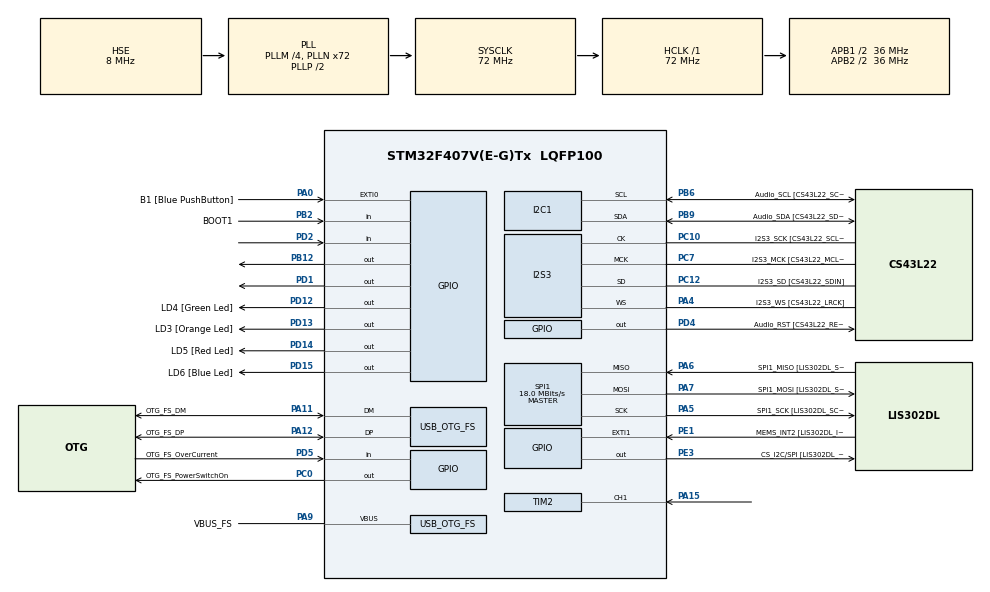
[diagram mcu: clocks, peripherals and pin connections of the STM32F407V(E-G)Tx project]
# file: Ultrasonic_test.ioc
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I2C1.I2C_Mode=I2C_Fast
I2S3.AudioFreq=I2S_AUDIOFREQ_96K
I2S3.AudioFreq-Half_Duplex_Master=I2S_AUDIOFREQ_96K
I2S3.ErrorAudioFreq=- %
I2S3.ErrorAudioFreq-Half_Duplex_Master=0.8 %
I2S3.FullDuplexMode=I2S_FULLDUPLEXMODE_DISABLE
I2S3.Instance=SPI$Index
I2S3.RealAudioFreq=- Hz
I2S3.RealAudioFreq-Half_Duplex_Master=96.774 KHz
I2S3.VirtualMode=I2S_MODE_MASTER
Mcu.Family=STM32F4
Mcu.Name=STM32F407V(E-G)Tx
Mcu.Package=LQFP100
NVIC.OTG_FS_IRQn=true\:0\:0\:false\:false\:true\:true\:true\:true
NVIC.PriorityGroup=NVIC_PRIORITYGROUP_0
NVIC.TIM2_IRQn=true\:0\:0\:false\:false\:true\:true\:true\:true
PA0-WKUP.GPIO_Label=B1 [Blue PushButton]
PA0-WKUP.GPIO_ModeDefaultEXTI=GPIO_MODE_EVT_RISING
PA0-WKUP.GPIO_PuPd=GPIO_NOPULL
PA0-WKUP.Signal=GPXTI0
PA10.GPIO_Label=OTG_FS_ID
PA10.GPIO_Mode=GPIO_MODE_AF_PP
PA10.GPIO_PuPd=GPIO_NOPULL
PA10.GPIO_Speed=GPIO_SPEED_FREQ_LOW
PA10.Signal=USB_OTG_FS_ID
PA11.GPIO_Label=OTG_FS_DM
PA11.GPIO_Mode=GPIO_MODE_AF_PP
PA11.GPIO_PuPd=GPIO_NOPULL
PA11.GPIO_Speed=GPIO_SPEED_FREQ_LOW
PA11.Mode=Host_Only
PA11.Signal=USB_OTG_FS_DM
PA12.GPIO_Label=OTG_FS_DP
PA12.GPIO_Mode=GPIO_MODE_AF_PP
PA12.GPIO_PuPd=GPIO_NOPULL
PA12.GPIO_Speed=GPIO_SPEED_FREQ_LOW
PA12.Mode=Host_Only
PA12.Signal=USB_OTG_FS_DP
PA13.GPIO_Label=SWDIO
PA13.Mode=Serial_Wire
PA13.Signal=SYS_JTMS-SWDIO
PA14.GPIO_Label=SWCLK
PA14.Mode=Serial_Wire
PA14.Signal=SYS_JTCK-SWCLK
PA15.Signal=S_TIM2_CH1_ETR
PA4.GPIO_Label=I2S3_WS [CS43L22_LRCK]
PA4.GPIO_Mode=GPIO_MODE_AF_PP
PA4.GPIO_PuPd=GPIO_NOPULL
PA4.GPIO_Speed=GPIO_SPEED_FREQ_LOW
PA4.Mode=Half_Duplex_Master
PA4.Signal=I2S3_WS
PA5.GPIO_Label=SPI1_SCK [LIS302DL_SCL/SPC]
PA5.GPIO_Mode=GPIO_MODE_AF_PP
PA5.GPIO_PuPd=GPIO_NOPULL
PA5.GPIO_Speed=GPIO_SPEED_FREQ_LOW
PA5.Mode=Full_Duplex_Master
PA5.Signal=SPI1_SCK
PA6.GPIO_Label=SPI1_MISO [LIS302DL_SDO]
PA6.GPIO_Mode=GPIO_MODE_AF_PP
PA6.GPIO_PuPd=GPIO_NOPULL
PA6.GPIO_Speed=GPIO_SPEED_FREQ_LOW
PA6.Mode=Full_Duplex_Master
PA6.Signal=SPI1_MISO
PA7.GPIO_Label=SPI1_MOSI [LIS302DL_SDA/SDI/SDO]
PA7.GPIO_Mode=GPIO_MODE_AF_PP
PA7.GPIO_PuPd=GPIO_NOPULL
PA7.GPIO_Speed=GPIO_SPEED_FREQ_LOW
PA7.Mode=Full_Duplex_Master
PA7.Signal=SPI1_MOSI
PA9.GPIO_Label=VBUS_FS
PA9.GPIO_Mode=GPIO_MODE_INPUT
PA9.GPIO_PuPd=GPIO_NOPULL
PA9.Mode=Activate_VBUS
PA9.Signal=USB_OTG_FS_VBUS
PB10.GPIO_Label=CLK_IN [MP45DT02_CLK]
PB10.GPIO_Mode=GPIO_MODE_AF_PP
PB10.GPIO_PuPd=GPIO_NOPULL
PB10.GPIO_Speed=GPIO_SPEED_FREQ_LOW
PB10.Signal=I2S2_CK
PB12.Signal=GPIO_Output
PB2.GPIO_Label=BOOT1
PB2.GPIO_Mode=GPIO_MODE_INPUT
PB2.GPIO_PuPd=GPIO_NOPULL
PB2.Signal=GPIO_Input
PB3.GPIO_Label=SWO
PB3.Signal=SYS_JTDO-SWO
PB6.GPIO_Label=Audio_SCL [CS43L22_SCL]
PB6.GPIO_Mode=GPIO_MODE_AF_OD
PB6.GPIO_Pu=GPIO_PULLUP
PB6.GPIO_PuPd=GPIO_NOPULL
PB6.GPIO_Speed=GPIO_SPEED_FREQ_LOW
PB6.Mode=I2C
PB6.Signal=I2C1_SCL
PB9.GPIO_Label=Audio_SDA [CS43L22_SDA]
PB9.GPIO_Mode=GPIO_MODE_AF_OD
PB9.GPIO_Pu=GPIO_PULLUP
PB9.GPIO_PuPd=GPIO_NOPULL
PB9.GPIO_Speed=GPIO_SPEED_FREQ_LOW
PB9.Mode=I2C
PB9.Signal=I2C1_SDA
PC0.GPIO_Label=OTG_FS_PowerSwitchOn
PC0.GPIO_PuPd=GPIO_NOPULL
PC0.GPIO_Speed=GPIO_SPEED_FREQ_LOW
PC0.PinState=GPIO_PIN_SET
PC0.Signal=GPIO_Output
PC10.GPIO_Label=I2S3_SCK [CS43L22_SCLK]
PC10.GPIO_Mode=GPIO_MODE_AF_PP
PC10.GPIO_PuPd=GPIO_NOPULL
PC10.GPIO_Speed=GPIO_SPEED_FREQ_LOW
PC10.Mode=Half_Duplex_Master
PC10.Signal=I2S3_CK
PC12.GPIO_Label=I2S3_SD [CS43L22_SDIN]
PC12.GPIO_Mode=GPIO_MODE_AF_PP
PC12.GPIO_PuPd=GPIO_NOPULL
PC12.GPIO_Speed=GPIO_SPEED_FREQ_LOW
PC12.Mode=Half_Duplex_Master
PC12.Signal=I2S3_SD
PC14-OSC32_IN.GPIO_Label=PC14-OSC32_IN
PC14-OSC32_IN.Mode=LSE-External-Oscillator
PC14-OSC32_IN.Signal=RCC_OSC32_IN
PC15-OSC32_OUT.GPIO_Label=PC15-OSC32_OUT
PC15-OSC32_OUT.Mode=LSE-External-Oscillator
PC15-OSC32_OUT.Signal=RCC_OSC32_OUT
PC3.GPIO_Label=PDM_OUT [MP45DT02_DOUT]
PC3.GPIO_Mode=GPIO_MODE_AF_PP
PC3.GPIO_PuPd=GPIO_NOPULL
PC3.GPIO_Speed=GPIO_SPEED_FREQ_LOW
PC3.Signal=I2S2_SD
PC7.GPIO_Label=I2S3_MCK [CS43L22_MCLK]
PC7.GPIO_Mode=GPIO_MODE_AF_PP
PC7.GPIO_PuPd=GPIO_NOPULL
PC7.GPIO_Speed=GPIO_SPEED_FREQ_LOW
PC7.Mode=Master_Clock_Activated
PC7.Signal=I2S3_MCK
PD1.Signal=GPIO_Output
PD12.GPIO_Label=LD4 [Green Led]
PD12.GPIO_PuPd=GPIO_NOPULL
PD12.GPIO_Speed=GPIO_SPEED_FREQ_LOW
PD12.Signal=GPIO_Output
PD13.GPIO_Label=LD3 [Orange Led]
PD13.GPIO_PuPd=GPIO_NOPULL
PD13.GPIO_Speed=GPIO_SPEED_FREQ_LOW
PD13.Signal=GPIO_Output
PD14.GPIO_Label=LD5 [Red Led]
PD14.GPIO_PuPd=GPIO_NOPULL
PD14.GPIO_Speed=GPIO_SPEED_FREQ_LOW
PD14.Signal=GPIO_Output
PD15.GPIO_Label=LD6 [Blue Led]
PD15.GPIO_PuPd=GPIO_NOPULL
PD15.GPIO_Speed=GPIO_SPEED_FREQ_LOW
PD15.Signal=GPIO_Output
PD2.Signal=GPIO_Input
PD4.GPIO_Label=Audio_RST [CS43L22_RESET]
PD4.GPIO_PuPd=GPIO_NOPULL
PD4.GPIO_Speed=GPIO_SPEED_FREQ_LOW
PD4.Signal=GPIO_Output
PD5.GPIO_Label=OTG_FS_OverCurrent
PD5.GPIO_Mode=GPIO_MODE_INPUT
PD5.GPIO_PuPd=GPIO_NOPULL
PD5.Signal=GPIO_Input
PE1.GPIO_Label=MEMS_INT2 [LIS302DL_INT2]
PE1.GPIO_ModeDefaultEXTI=GPIO_MODE_EVT_RISING
PE1.GPIO_PuPd=GPIO_NOPULL
PE1.Signal=GPXTI1
PE3.GPIO_Label=CS_I2C/SPI [LIS302DL_CS_I2C/SPI]
PE3.GPIO_PuPd=GPIO_NOPULL
PE3.GPIO_Speed=GPIO_SPEED_FREQ_LOW
PE3.Signal=GPIO_Output
PH0-OSC_IN.GPIO_Label=PH0-OSC_IN
PH0-OSC_IN.Mode=HSE-External-Oscillator
PH0-OSC_IN.Signal=RCC_OSC_IN
PH1-OSC_OUT.GPIO_Label=PH1-OSC_OUT
PH1-OSC_OUT.Mode=HSE-External-Oscillator
PH1-OSC_OUT.Signal=RCC_OSC_OUT
ProjectManager.HeapSize=0x200
ProjectManager.StackSize=0x400
ProjectManager.TargetToolchain=STM32CubeIDE
RCC.48MHZClocksFreq_Value=48000000
RCC.AHBFreq_Value=72000000
RCC.APB1CLKDivider=RCC_HCLK_DIV2
RCC.APB1Freq_Value=36000000
RCC.APB1TimFreq_Value=72000000
RCC.APB2CLKDivider=RCC_HCLK_DIV2
RCC.APB2Freq_Value=36000000
RCC.APB2TimFreq_Value=72000000
RCC.CortexFreq_Value=72000000
RCC.HCLKFreq_Value=72000000
RCC.HSE_VALUE=8000000
RCC.HSI_VALUE=16000000
RCC.PLLI2SN=50
RCC.PLLM=4
RCC.PLLN=72
RCC.PLLQ=3
RCC.SYSCLKFreq_VALUE=72000000
RCC.SYSCLKSource=RCC_SYSCLKSOURCE_PLLCLK
RCC.VCOOutputFreq_Value=144000000
SH.S_TIM2_CH1_ETR.0=TIM2_CH1,Input_Capture1_from_TI1
SPI1.BaudRatePrescaler-Full_Duplex_Master=SPI_BAUDRATEPRESCALER_2
SPI1.CalculateBaudRate=18.0 MBits/s
SPI1.CalculateBaudRate-Full_Duplex_Master=42.0 MBits/s
SPI1.Direction=SPI_DIRECTION_2LINES
SPI1.Mode=SPI_MODE_MASTER
SPI1.Mode-Full_Duplex_Master=SPI_MODE_MASTER
SPI1.VirtualType=VM_MASTER
TIM2.Channel-Input_Capture1_from_TI1=TIM_CHANNEL_1
TIM2.Prescaler=71
USB_HOST.BSP.number=1
USB_HOST.USBH_HandleTypeDef-CDC_FS=hUsbHostFS
USB_HOST.VirtualModeFS=Cdc
USB_HOST0.BSP.STBoard=false
USB_HOST0.BSP.api=Unknown
USB_HOST0.BSP.instance=PC0
USB_HOST0.BSP.ip=GPIO
USB_HOST0.BSP.mode=Output
USB_HOST0.BSP.name=Drive_VBUS_FS
USB_HOST0.BSP.solution=PC0
USB_OTG_FS.VirtualMode=Host_Only
USB_OTG_FS.phy_itface=HCD_PHY_EMBEDDED
VP_TIM2_VS_ClockSourceINT.Mode=Internal
VP_USB_HOST_VS_USB_HOST_CDC_FS.Mode=CDC_FS
board=STM32F407G-DISC1

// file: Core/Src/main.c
/* USER CODE BEGIN Header */
/**
  ******************************************************************************
  * @file           : main.c
  * @brief          : Main program body
  ******************************************************************************
  * @attention
  *
  * Copyright (c) 2025 STMicroelectronics.
  * All rights reserved.
  *
  * This software is licensed under terms that can be found in the LICENSE file
  * in the root directory of this software component.
  * If no LICENSE file comes with this software, it is provided AS-IS.
  *
  ******************************************************************************
  */
/* USER CODE END Header */
#include "main.h"
#include "usb_host.h"

/* USER CODE BEGIN Includes */
#include "fonts.h"
#include "ssd1306.h"
#include "stdio.h"
/* USER CODE END Includes */

/* USER CODE BEGIN PD */
#define HCSR04_SENSOR1 0
/* USER CODE END PD */

I2C_HandleTypeDef hi2c1;

I2S_HandleTypeDef hi2s3;

SPI_HandleTypeDef hspi1;

TIM_HandleTypeDef htim2;

/* USER CODE BEGIN PV */
#define TRIG_PIN GPIO_PIN_9
#define TRIG_PORT GPIOA
#define ECHO_PIN GPIO_PIN_8
#define ECHO_PORT GPIOA
uint32_t pMillis;
uint32_t Value1 = 0;
uint32_t Value2 = 0;
uint16_t Distance  = 0;  // cm
char strCopy[15];
/* USER CODE END PV */

void SystemClock_Config(void);
static void MX_GPIO_Init(void);
static void MX_I2C1_Init(void);
static void MX_I2S3_Init(void);
static void MX_SPI1_Init(void);
static void MX_TIM2_Init(void);
void MX_USB_HOST_Process(void);

/* USER CODE BEGIN 0 */
uint16_t TRIG_Ticks = 0;
float dist = 0;
/* USER CODE END 0 */

int main(void)
{

  /* MCU Configuration--------------------------------------------------------*/

  /* Reset of all peripherals, Initializes the Flash interface and the Systick. */
  HAL_Init();

  /* USER CODE BEGIN Init */
  //HCSR04_Init(HCSR04_SENSOR1, &htim2);
  /* USER CODE END Init */

  /* Configure the system clock */
  SystemClock_Config();

  /* Initialize all configured peripherals */
  MX_GPIO_Init();
  MX_I2C1_Init();
  MX_I2S3_Init();
  MX_SPI1_Init();
  MX_TIM2_Init();
  MX_USB_HOST_Init();
  /* USER CODE BEGIN 2 */
  	HAL_TIM_Base_Start(&htim2);
	HAL_GPIO_WritePin(TRIG_PORT, TRIG_PIN, GPIO_PIN_RESET);  // pull the TRIG pin low
	SSD1306_Init();
  /* USER CODE END 2 */

  /* Infinite loop */
  /* USER CODE BEGIN WHILE */
  while (1)
  {
	  HAL_GPIO_WritePin(TRIG_PORT, TRIG_PIN, GPIO_PIN_SET);  // pull the TRIG pin HIGH
	      __HAL_TIM_SET_COUNTER(&htim2, 0);
	      while (__HAL_TIM_GET_COUNTER (&htim2) < 10);  // wait for 10 us
	      HAL_GPIO_WritePin(TRIG_PORT, TRIG_PIN, GPIO_PIN_RESET);  // pull the TRIG pin low

	      pMillis = HAL_GetTick(); // used this to avoid infinite while loop  (for timeout)
	      // wait for the echo pin to go high
	      while (!(HAL_GPIO_ReadPin (ECHO_PORT, ECHO_PIN)) && pMillis + 10 >  HAL_GetTick());
	      Value1 = __HAL_TIM_GET_COUNTER (&htim2);

	      pMillis = HAL_GetTick(); // used this to avoid infinite while loop (for timeout)
	      // wait for the echo pin to go low
	      while ((HAL_GPIO_ReadPin (ECHO_PORT, ECHO_PIN)) && pMillis + 50 > HAL_GetTick());
	      Value2 = __HAL_TIM_GET_COUNTER (&htim2);

	      Distance = (Value2-Value1)* 0.034/2;

	      SSD1306_GotoXY (0, 0);
	      SSD1306_Puts ("Distance:", &Font_11x18, 1);
	      sprintf(strCopy,"%d    ", Distance);
	      SSD1306_GotoXY (0, 30);
	      SSD1306_Puts (strCopy, &Font_16x26, 1);
	      SSD1306_UpdateScreen();
	      HAL_Delay(50);

    /* USER CODE END WHILE */
    //MX_USB_HOST_Process();

    /* USER CODE BEGIN 3 */
    /*dist = HCSR04_Read(HCSR04_SENSOR1);

        if(dist < 10) //distance smaller than 10 cm
        	HAL_GPIO_WritePin(GPIOD, GPIO_PIN_15, GPIO_PIN_SET);
        else
        	HAL_GPIO_WritePin(GPIOD, GPIO_PIN_15, GPIO_PIN_RESET);

    HAL_Delay(50);*/
  }
  /* USER CODE END 3 */
}

void SystemClock_Config(void)
{
  RCC_OscInitTypeDef RCC_OscInitStruct = {0};
  RCC_ClkInitTypeDef RCC_ClkInitStruct = {0};

  /** Configure the main internal regulator output voltage
  */
  __HAL_RCC_PWR_CLK_ENABLE();
  __HAL_PWR_VOLTAGESCALING_CONFIG(PWR_REGULATOR_VOLTAGE_SCALE1);

  /** Initializes the RCC Oscillators according to the specified parameters
  * in the RCC_OscInitTypeDef structure.
  */
  RCC_OscInitStruct.OscillatorType = RCC_OSCILLATORTYPE_HSE;
  RCC_OscInitStruct.HSEState = RCC_HSE_ON;
  RCC_OscInitStruct.PLL.PLLState = RCC_PLL_ON;
  RCC_OscInitStruct.PLL.PLLSource = RCC_PLLSOURCE_HSE;
  RCC_OscInitStruct.PLL.PLLM = 4;
  RCC_OscInitStruct.PLL.PLLN = 72;
  RCC_OscInitStruct.PLL.PLLP = RCC_PLLP_DIV2;
  RCC_OscInitStruct.PLL.PLLQ = 3;
  if (HAL_RCC_OscConfig(&RCC_OscInitStruct) != HAL_OK)
  {
    Error_Handler();
  }

  /** Initializes the CPU, AHB and APB buses clocks
  */
  RCC_ClkInitStruct.ClockType = RCC_CLOCKTYPE_HCLK|RCC_CLOCKTYPE_SYSCLK
                              |RCC_CLOCKTYPE_PCLK1|RCC_CLOCKTYPE_PCLK2;
  RCC_ClkInitStruct.SYSCLKSource = RCC_SYSCLKSOURCE_PLLCLK;
  RCC_ClkInitStruct.AHBCLKDivider = RCC_SYSCLK_DIV1;
  RCC_ClkInitStruct.APB1CLKDivider = RCC_HCLK_DIV2;
  RCC_ClkInitStruct.APB2CLKDivider = RCC_HCLK_DIV2;

  if (HAL_RCC_ClockConfig(&RCC_ClkInitStruct, FLASH_LATENCY_2) != HAL_OK)
  {
    Error_Handler();
  }
}

static void MX_I2C1_Init(void)
{

  hi2c1.Instance = I2C1;
  hi2c1.Init.ClockSpeed = 400000;
  hi2c1.Init.DutyCycle = I2C_DUTYCYCLE_2;
  hi2c1.Init.OwnAddress1 = 0;
  hi2c1.Init.AddressingMode = I2C_ADDRESSINGMODE_7BIT;
  hi2c1.Init.DualAddressMode = I2C_DUALADDRESS_DISABLE;
  hi2c1.Init.OwnAddress2 = 0;
  hi2c1.Init.GeneralCallMode = I2C_GENERALCALL_DISABLE;
  hi2c1.Init.NoStretchMode = I2C_NOSTRETCH_DISABLE;
  if (HAL_I2C_Init(&hi2c1) != HAL_OK)
  {
    Error_Handler();
  }

}

static void MX_I2S3_Init(void)
{

  hi2s3.Instance = SPI3;
  hi2s3.Init.Mode = I2S_MODE_MASTER_TX;
  hi2s3.Init.Standard = I2S_STANDARD_PHILIPS;
  hi2s3.Init.DataFormat = I2S_DATAFORMAT_16B;
  hi2s3.Init.MCLKOutput = I2S_MCLKOUTPUT_ENABLE;
  hi2s3.Init.AudioFreq = I2S_AUDIOFREQ_96K;
  hi2s3.Init.CPOL = I2S_CPOL_LOW;
  hi2s3.Init.ClockSource = I2S_CLOCK_PLL;
  hi2s3.Init.FullDuplexMode = I2S_FULLDUPLEXMODE_DISABLE;
  if (HAL_I2S_Init(&hi2s3) != HAL_OK)
  {
    Error_Handler();
  }

}

static void MX_SPI1_Init(void)
{

  /* SPI1 parameter configuration*/
  hspi1.Instance = SPI1;
  hspi1.Init.Mode = SPI_MODE_MASTER;
  hspi1.Init.Direction = SPI_DIRECTION_2LINES;
  hspi1.Init.DataSize = SPI_DATASIZE_8BIT;
  hspi1.Init.CLKPolarity = SPI_POLARITY_LOW;
  hspi1.Init.CLKPhase = SPI_PHASE_1EDGE;
  hspi1.Init.NSS = SPI_NSS_SOFT;
  hspi1.Init.BaudRatePrescaler = SPI_BAUDRATEPRESCALER_2;
  hspi1.Init.FirstBit = SPI_FIRSTBIT_MSB;
  hspi1.Init.TIMode = SPI_TIMODE_DISABLE;
  hspi1.Init.CRCCalculation = SPI_CRCCALCULATION_DISABLE;
  hspi1.Init.CRCPolynomial = 10;
  if (HAL_SPI_Init(&hspi1) != HAL_OK)
  {
    Error_Handler();
  }

}

static void MX_TIM2_Init(void)
{

  TIM_ClockConfigTypeDef sClockSourceConfig = {0};
  TIM_MasterConfigTypeDef sMasterConfig = {0};
  TIM_IC_InitTypeDef sConfigIC = {0};

  htim2.Instance = TIM2;
  htim2.Init.Prescaler = 71;
  htim2.Init.CounterMode = TIM_COUNTERMODE_UP;
  htim2.Init.Period = 4294967295;
  htim2.Init.ClockDivision = TIM_CLOCKDIVISION_DIV1;
  htim2.Init.AutoReloadPreload = TIM_AUTORELOAD_PRELOAD_DISABLE;
  if (HAL_TIM_Base_Init(&htim2) != HAL_OK)
  {
    Error_Handler();
  }
  sClockSourceConfig.ClockSource = TIM_CLOCKSOURCE_INTERNAL;
  if (HAL_TIM_ConfigClockSource(&htim2, &sClockSourceConfig) != HAL_OK)
  {
    Error_Handler();
  }
  if (HAL_TIM_IC_Init(&htim2) != HAL_OK)
  {
    Error_Handler();
  }
  sMasterConfig.MasterOutputTrigger = TIM_TRGO_RESET;
  sMasterConfig.MasterSlaveMode = TIM_MASTERSLAVEMODE_DISABLE;
  if (HAL_TIMEx_MasterConfigSynchronization(&htim2, &sMasterConfig) != HAL_OK)
  {
    Error_Handler();
  }
  sConfigIC.ICPolarity = TIM_INPUTCHANNELPOLARITY_RISING;
  sConfigIC.ICSelection = TIM_ICSELECTION_DIRECTTI;
  sConfigIC.ICPrescaler = TIM_ICPSC_DIV1;
  sConfigIC.ICFilter = 0;
  if (HAL_TIM_IC_ConfigChannel(&htim2, &sConfigIC, TIM_CHANNEL_1) != HAL_OK)
  {
    Error_Handler();
  }

}

static void MX_GPIO_Init(void)
{
  GPIO_InitTypeDef GPIO_InitStruct = {0};

  /* GPIO Ports Clock Enable */
  __HAL_RCC_GPIOE_CLK_ENABLE();
  __HAL_RCC_GPIOC_CLK_ENABLE();
  __HAL_RCC_GPIOH_CLK_ENABLE();
  __HAL_RCC_GPIOA_CLK_ENABLE();
  __HAL_RCC_GPIOB_CLK_ENABLE();
  __HAL_RCC_GPIOD_CLK_ENABLE();

  /*Configure GPIO pin Output Level */
  HAL_GPIO_WritePin(CS_I2C_SPI_GPIO_Port, CS_I2C_SPI_Pin, GPIO_PIN_RESET);

  /*Configure GPIO pin Output Level */
  HAL_GPIO_WritePin(OTG_FS_PowerSwitchOn_GPIO_Port, OTG_FS_PowerSwitchOn_Pin, GPIO_PIN_SET);

  /*Configure GPIO pin Output Level */
  HAL_GPIO_WritePin(GPIOB, GPIO_PIN_12, GPIO_PIN_RESET);

  /*Configure GPIO pin Output Level */
  HAL_GPIO_WritePin(GPIOD, LD4_Pin|LD3_Pin|LD5_Pin|LD6_Pin
                          |GPIO_PIN_1|Audio_RST_Pin, GPIO_PIN_RESET);

  /*Configure GPIO pin : CS_I2C_SPI_Pin */
  GPIO_InitStruct.Pin = CS_I2C_SPI_Pin;
  GPIO_InitStruct.Mode = GPIO_MODE_OUTPUT_PP;
  GPIO_InitStruct.Pull = GPIO_NOPULL;
  GPIO_InitStruct.Speed = GPIO_SPEED_FREQ_LOW;
  HAL_GPIO_Init(CS_I2C_SPI_GPIO_Port, &GPIO_InitStruct);

  /*Configure GPIO pin : OTG_FS_PowerSwitchOn_Pin */
  GPIO_InitStruct.Pin = OTG_FS_PowerSwitchOn_Pin;
  GPIO_InitStruct.Mode = GPIO_MODE_OUTPUT_PP;
  GPIO_InitStruct.Pull = GPIO_NOPULL;
  GPIO_InitStruct.Speed = GPIO_SPEED_FREQ_LOW;
  HAL_GPIO_Init(OTG_FS_PowerSwitchOn_GPIO_Port, &GPIO_InitStruct);

  /*Configure GPIO pin : PDM_OUT_Pin */
  GPIO_InitStruct.Pin = PDM_OUT_Pin;
  GPIO_InitStruct.Mode = GPIO_MODE_AF_PP;
  GPIO_InitStruct.Pull = GPIO_NOPULL;
  GPIO_InitStruct.Speed = GPIO_SPEED_FREQ_LOW;
  GPIO_InitStruct.Alternate = GPIO_AF5_SPI2;
  HAL_GPIO_Init(PDM_OUT_GPIO_Port, &GPIO_InitStruct);

  /*Configure GPIO pin : B1_Pin */
  GPIO_InitStruct.Pin = B1_Pin;
  GPIO_InitStruct.Mode = GPIO_MODE_EVT_RISING;
  GPIO_InitStruct.Pull = GPIO_NOPULL;
  HAL_GPIO_Init(B1_GPIO_Port, &GPIO_InitStruct);

  /*Configure GPIO pin : BOOT1_Pin */
  GPIO_InitStruct.Pin = BOOT1_Pin;
  GPIO_InitStruct.Mode = GPIO_MODE_INPUT;
  GPIO_InitStruct.Pull = GPIO_NOPULL;
  HAL_GPIO_Init(BOOT1_GPIO_Port, &GPIO_InitStruct);

  /*Configure GPIO pin : CLK_IN_Pin */
  GPIO_InitStruct.Pin = CLK_IN_Pin;
  GPIO_InitStruct.Mode = GPIO_MODE_AF_PP;
  GPIO_InitStruct.Pull = GPIO_NOPULL;
  GPIO_InitStruct.Speed = GPIO_SPEED_FREQ_LOW;
  GPIO_InitStruct.Alternate = GPIO_AF5_SPI2;
  HAL_GPIO_Init(CLK_IN_GPIO_Port, &GPIO_InitStruct);

  /*Configure GPIO pin : PB12 */
  GPIO_InitStruct.Pin = GPIO_PIN_12;
  GPIO_InitStruct.Mode = GPIO_MODE_OUTPUT_PP;
  GPIO_InitStruct.Pull = GPIO_NOPULL;
  GPIO_InitStruct.Speed = GPIO_SPEED_FREQ_LOW;
  HAL_GPIO_Init(GPIOB, &GPIO_InitStruct);

  /*Configure GPIO pins : LD4_Pin LD3_Pin LD5_Pin LD6_Pin
                           PD1 Audio_RST_Pin */
  GPIO_InitStruct.Pin = LD4_Pin|LD3_Pin|LD5_Pin|LD6_Pin
                          |GPIO_PIN_1|Audio_RST_Pin;
  GPIO_InitStruct.Mode = GPIO_MODE_OUTPUT_PP;
  GPIO_InitStruct.Pull = GPIO_NOPULL;
  GPIO_InitStruct.Speed = GPIO_SPEED_FREQ_LOW;
  HAL_GPIO_Init(GPIOD, &GPIO_InitStruct);

  /*Configure GPIO pins : PD2 OTG_FS_OverCurrent_Pin */
  GPIO_InitStruct.Pin = GPIO_PIN_2|OTG_FS_OverCurrent_Pin;
  GPIO_InitStruct.Mode = GPIO_MODE_INPUT;
  GPIO_InitStruct.Pull = GPIO_NOPULL;
  HAL_GPIO_Init(GPIOD, &GPIO_InitStruct);

  /*Configure GPIO pin : MEMS_INT2_Pin */
  GPIO_InitStruct.Pin = MEMS_INT2_Pin;
  GPIO_InitStruct.Mode = GPIO_MODE_EVT_RISING;
  GPIO_InitStruct.Pull = GPIO_NOPULL;
  HAL_GPIO_Init(MEMS_INT2_GPIO_Port, &GPIO_InitStruct);

}

/* USER CODE BEGIN 4 */
/*void HAL_TIM_IC_CaptureCallback(TIM_HandleTypeDef *htim)
{
    HCSR04_TMR_IC_ISR(htim);
}

void HAL_TIM_PeriodElapsedCallback(TIM_HandleTypeDef* htim)
{
    HCSR04_TMR_OVF_ISR(htim);
}

void SysTick_CallBack(void)
{
    TRIG_Ticks++;
    if(TRIG_Ticks >= 15) // Each 15msec
    {
        HCSR04_Trigger(HCSR04_SENSOR1);
        TRIG_Ticks = 0;
    }
}*/
/* USER CODE END 4 */

void Error_Handler(void)
{
  __disable_irq();
  while (1)
  {
  }
}
